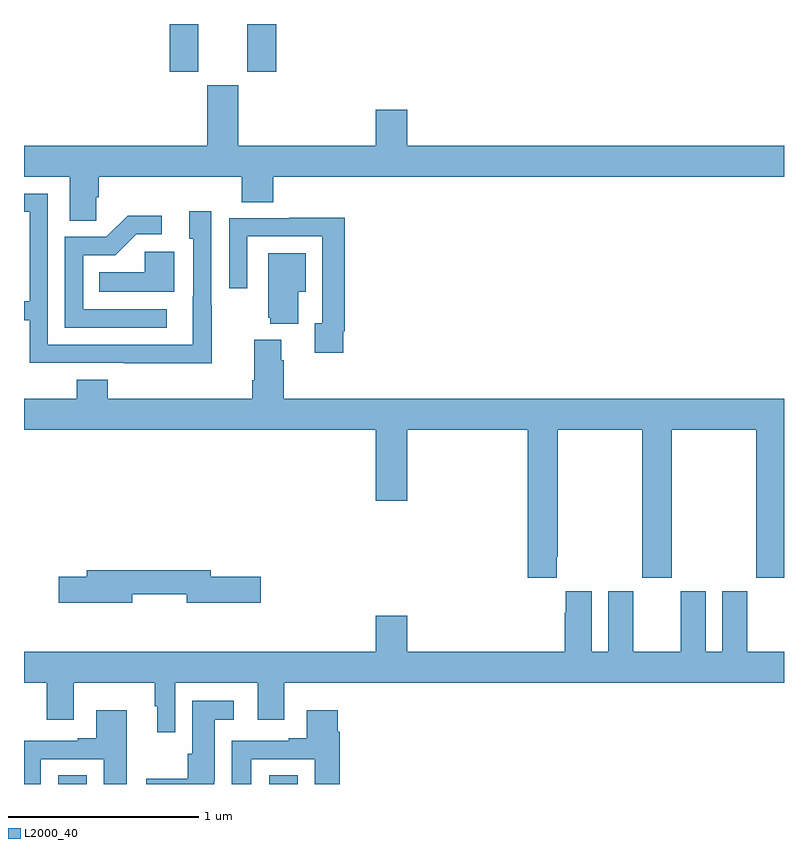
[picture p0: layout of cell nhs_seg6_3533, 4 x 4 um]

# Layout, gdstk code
import gdstk
lib = gdstk.Library(unit=1e-6, precision=1e-09)
def R(c, l, rs):  # rectangles x0, y0, x1, y1
    for r in rs: c.add(gdstk.rectangle(r[:2], r[2:], *l))
def P(c, l, *ps):  # polygons
    for p in ps: c.add(gdstk.Polygon(p, *l))
L2000_40 = (2000, 40)

nhs_seg6_3533 = lib.new_cell('nhs_seg6_3533')
R(nhs_seg6_3533, L2000_40, [(319.181,917.5,319.33,917.546), (320.291,917.5,320.44,917.546), (319.766,921.249,319.918,921.5), (320.174,921.249,320.327,921.5)])
P(nhs_seg6_3533, L2000_40, [(319.38,920.587),(319.394,920.587),(319.394,920.696),(320.147,920.696),(320.147,920.563),(320.312,920.563),(320.312,920.696),(323,920.696),(323,920.86),(321.016,920.86),(321.016,921.049),(320.852,921.049),(320.852,920.86),(320.128,920.86),(320.128,921.177),(319.964,921.177),(319.964,920.86),(319,920.86),(319,920.696),(319.241,920.696),(319.241,920.464),(319.38,920.464)],
  [(319.989,920.021),(319.986,920.021),(319.986,920.515),(319.871,920.515),(319.871,920.37),(319.89,920.37),(319.89,920.066),(319.889,920.066),(319.889,919.812),(319.125,919.812),(319.125,920.607),(319,920.607),(319,920.511),(319.029,920.511),(319.029,920.042),(319,920.042),(319,919.941),(319.029,919.941),(319.029,919.716),(319.525,919.716),(319.525,919.715),(319.989,919.715)],
  [(319.75,919.998),(319.311,919.998),(319.311,920.283),(319.48,920.283),(319.591,920.394),(319.726,920.394),(319.726,920.492),(319.547,920.492),(319.434,920.379),(319.215,920.379),(319.215,919.902),(319.75,919.902)],
  [(320.68,919.882),(320.687,919.882),(320.687,920.48),(320.395,920.48),(320.395,920.478),(320.079,920.478),(320.079,920.109),(320.175,920.109),(320.175,920.382),(320.571,920.382),(320.571,919.926),(320.531,919.926),(320.531,919.77),(320.68,919.77)],
  [(319.792,920.302),(319.635,920.302),(319.635,920.194),(319.396,920.194),(319.396,920.09),(319.792,920.09)],
  [(320.443,920.09),(320.482,920.09),(320.482,920.293),(320.285,920.293),(320.285,919.953),(320.297,919.953),(320.297,919.922),(320.443,919.922)],
  [(321.805,918.697),(321.81,918.697),(321.81,919.364),(322.255,919.364),(322.255,918.585),(322.41,918.585),(322.41,919.364),(322.855,919.364),(322.855,918.585),(323,918.585),(323,919.528),(320.366,919.528),(320.366,919.73),(320.353,919.73),(320.353,919.837),(320.213,919.837),(320.213,919.624),(320.201,919.624),(320.201,919.528),(319.442,919.528),(319.442,919.627),(319.277,919.627),(319.277,919.528),(319,919.528),(319,919.364),(320.852,919.364),(320.852,918.99),(321.016,918.99),(321.016,919.364),(321.65,919.364),(321.65,918.585),(321.805,918.585)],
  [(319.57,918.498),(319.856,918.498),(319.856,918.455),(320.245,918.455),(320.245,918.59),(319.984,918.59),(319.984,918.626),(319.331,918.626),(319.331,918.59),(319.182,918.59),(319.182,918.455),(319.57,918.455)],
  [(323,918.196),(322.807,918.196),(322.807,918.514),(322.676,918.514),(322.676,918.196),(322.588,918.196),(322.588,918.514),(322.457,918.514),(322.457,918.196),(322.207,918.196),(322.207,918.514),(322.076,918.514),(322.076,918.196),(321.988,918.196),(321.988,918.514),(321.851,918.514),(321.851,918.401),(321.845,918.401),(321.845,918.196),(321.016,918.196),(321.016,918.385),(320.852,918.385),(320.852,918.196),(319,918.196),(319,918.032),(319.121,918.032),(319.121,917.838),(319.261,917.838),(319.261,918.032),(319.689,918.032),(319.689,917.91),(319.7,917.91),(319.7,917.772),(319.797,917.772),(319.797,918.032),(320.231,918.032),(320.231,917.838),(320.371,917.838),(320.371,918.032),(323,918.032)],
  [(320.001,917.518),(320.005,917.518),(320.005,917.837),(320.104,917.837),(320.104,917.938),(319.886,917.938),(319.886,917.658),(319.861,917.658),(319.861,917.527),(319.644,917.527),(319.644,917.5),(320.001,917.5)],
  [(320.197,917.631),(320.531,917.631),(320.531,917.5),(320.663,917.5),(320.663,917.774),(320.65,917.774),(320.65,917.887),(320.489,917.887),(320.489,917.74),(320.393,917.74),(320.393,917.727),(320.093,917.727),(320.093,917.5),(320.197,917.5)],
  [(319.087,917.631),(319.421,917.631),(319.421,917.5),(319.54,917.5),(319.54,917.887),(319.379,917.887),(319.379,917.74),(319.283,917.74),(319.283,917.727),(319,917.727),(319,917.5),(319.087,917.5)])

lib.write_gds('nhs_seg6_3533.gds')
